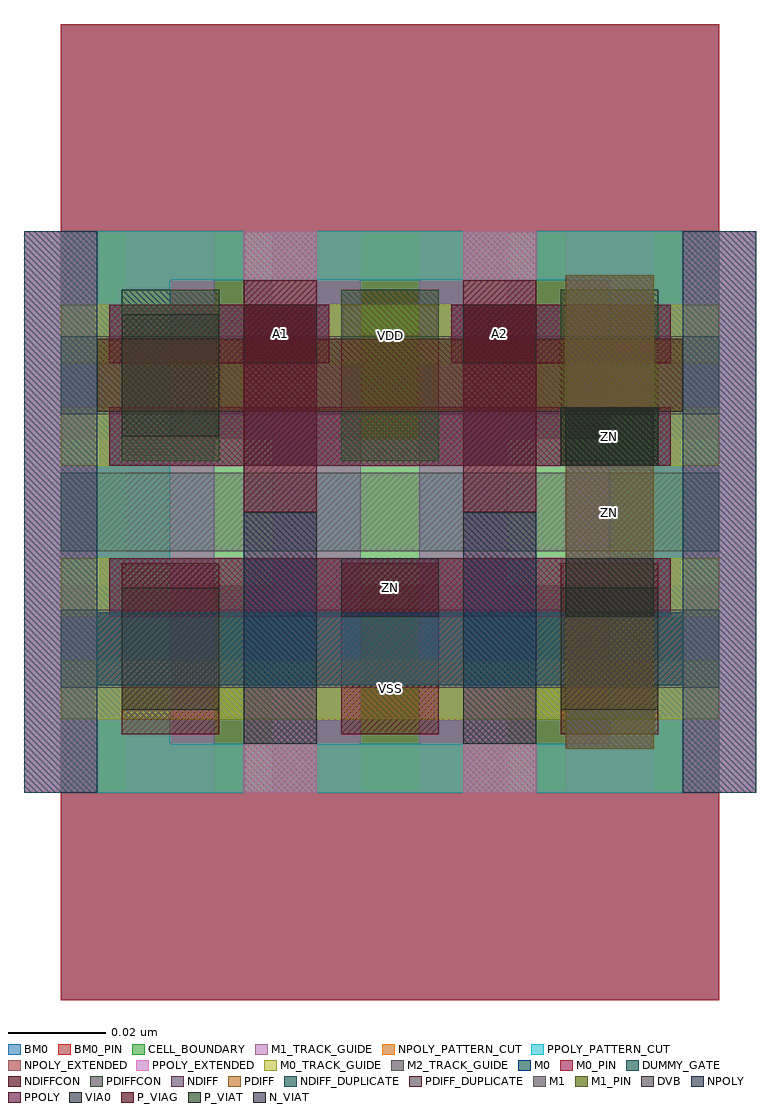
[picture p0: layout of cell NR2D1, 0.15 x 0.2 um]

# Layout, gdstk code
import gdstk
lib = gdstk.Library(unit=1e-6, precision=5e-11)
def R(c, l, rs):  # rectangles x0, y0, x1, y1
    for r in rs: c.add(gdstk.rectangle(r[:2], r[2:], *l))
def A(c, l, x, y, w, h, nx, ny, dx, dy):  # array of equal rectangles
    R(c, l, [(x+i*dx, y+j*dy, x+i*dx+w, y+j*dy+h) for i in range(nx) for j in range(ny)])
CELL_BOUNDARY = (1, 0)
NDIFF = (100, 0)
NDIFF_DUPLICATE = (100, 1)
PDIFF = (101, 0)
PDIFF_DUPLICATE = (101, 1)
NPOLY = (102, 0)
NPOLY_EXTENDED = (102, 1)
NPOLY_PATTERN_CUT = (102, 2)
PPOLY = (103, 0)
PPOLY_EXTENDED = (103, 1)
PPOLY_PATTERN_CUT = (103, 2)
NDIFFCON = (104, 0)
PDIFFCON = (105, 0)
P_VIAG = (106, 0)
P_VIAT = (108, 0)
N_VIAT = (109, 0)
DVB = (111, 0)
DUMMY_GATE = (121, 0)
M0 = (200, 0)
M0_PIN = (200, 2)
VIA0 = (201, 0)
M1 = (202, 0)
M1_PIN = (202, 2)
M0_TRACK_GUIDE = (220, 0)
M1_TRACK_GUIDE = (221, 0)
M2_TRACK_GUIDE = (222, 0)
BM0 = (300, 0)
BM0_PIN = (300, 2)

nr2d1 = lib.new_cell('NR2D1')
R(nr2d1, CELL_BOUNDARY, [(0,0,0.135,0.115)])
R(nr2d1, NDIFF, [(0.0075,0.022,0.1275,0.037)])
R(nr2d1, NDIFF_DUPLICATE, [(0.0075,0.022,0.1275,0.037)])
R(nr2d1, PDIFF, [(0.0075,0.078,0.1275,0.093)])
R(nr2d1, PDIFF_DUPLICATE, [(0.0075,0.078,0.1275,0.093)])
R(nr2d1, NPOLY, [(0.0375,0.01,0.0525,0.0575), (0.0825,0.01,0.0975,0.0575)])
A(nr2d1, NPOLY_EXTENDED, -0.0075, 0, 0.015, 0.115, 4, 1, 0.045, 0)
R(nr2d1, NPOLY_PATTERN_CUT, [(0,0,0.0225,0.115), (0.0225,0,0.1125,0.01), (0.1125,0,0.135,0.115), (0.0225,0.105,0.1125,0.115)])
R(nr2d1, PPOLY, [(0.0375,0.0575,0.0525,0.105), (0.0825,0.0575,0.0975,0.105)])
A(nr2d1, PPOLY_EXTENDED, -0.0075, 0, 0.015, 0.115, 4, 1, 0.045, 0)
R(nr2d1, PPOLY_PATTERN_CUT, [(0,0,0.0225,0.115), (0.0225,0,0.1125,0.01), (0.1125,0,0.135,0.115), (0.0225,0.105,0.1125,0.115)])
A(nr2d1, NDIFFCON, 0.0125, 0.012, 0.02, 0.035, 3, 1, 0.045, 0)
A(nr2d1, PDIFFCON, 0.0125, 0.068, 0.02, 0.035, 3, 1, 0.045, 0)
R(nr2d1, P_VIAG, [(0.0375,0.088,0.0525,0.1), (0.0825,0.088,0.0975,0.1)])
R(nr2d1, P_VIAT, [(0.1025,0.067,0.1225,0.079)])
R(nr2d1, N_VIAT, [(0.0575,0.036,0.0775,0.048)])
R(nr2d1, DVB, [(0.0125,0.017,0.0325,0.042), (0.1025,0.017,0.1225,0.042), (0.0125,0.073,0.0325,0.098)])
R(nr2d1, DUMMY_GATE, [(-0.0075,0,0.0075,0.115), (0.1275,0,0.1425,0.115)])
R(nr2d1, M0, [(0.01,0.036,0.125,0.048), (0.01,0.067,0.125,0.079), (0.01,0.088,0.055,0.1), (0.08,0.088,0.125,0.1)])
R(nr2d1, M0_PIN, [(0.01,0.036,0.125,0.048), (0.01,0.067,0.125,0.079), (0.01,0.088,0.055,0.1), (0.08,0.088,0.125,0.1)])
R(nr2d1, VIA0, [(0.1035,0.036,0.1215,0.048), (0.1035,0.067,0.1215,0.079)])
R(nr2d1, M1, [(0.1035,0.009,0.1215,0.106)])
R(nr2d1, M1_PIN, [(0.1035,0.009,0.1215,0.106)])
R(nr2d1, M0_TRACK_GUIDE, [(0,0.015,0.135,0.027), (0,0.036,0.135,0.048), (0,0.067,0.135,0.079), (0,0.088,0.135,0.1)])
A(nr2d1, M1_TRACK_GUIDE, 0.0135, 0, 0.018, 0.115, 4, 1, 0.03, 0)
A(nr2d1, M2_TRACK_GUIDE, 0, 0.0215, 0.135, 0.016, 1, 3, 0, 0.028)
R(nr2d1, BM0, [(0,-0.0425,0.135,0.0425), (0,0.0725,0.135,0.1575)])
R(nr2d1, BM0_PIN, [(0,-0.0425,0.135,0.0425), (0,0.0725,0.135,0.1575)])
nr2d1.add(gdstk.Label('VSS', (0.0675,0.0213), layer=300, texttype=1))
nr2d1.add(gdstk.Label('VDD', (0.0675,0.0938), layer=300, texttype=1))
nr2d1.add(gdstk.Label('A1', (0.045,0.094), layer=200, texttype=1))
nr2d1.add(gdstk.Label('A2', (0.09,0.094), layer=200, texttype=1))
nr2d1.add(gdstk.Label('ZN', (0.1125,0.073), layer=200, texttype=1))
nr2d1.add(gdstk.Label('ZN', (0.0675,0.042), layer=200, texttype=1))
nr2d1.add(gdstk.Label('ZN', (0.1125,0.0575), layer=202, texttype=1))
nr2d1.add(gdstk.Label('VSS', (0.0675,0.0213), layer=300, texttype=3))
nr2d1.add(gdstk.Label('VDD', (0.0675,0.0938), layer=300, texttype=3))
nr2d1.add(gdstk.Label('ZN', (0.0675,0.042), layer=200, texttype=3))
nr2d1.add(gdstk.Label('ZN', (0.1125,0.073), layer=200, texttype=3))
nr2d1.add(gdstk.Label('A1', (0.045,0.094), layer=200, texttype=3))
nr2d1.add(gdstk.Label('A2', (0.09,0.094), layer=200, texttype=3))
nr2d1.add(gdstk.Label('ZN', (0.1125,0.0575), layer=202, texttype=3))

lib.write_gds('NR2D1.gds')
